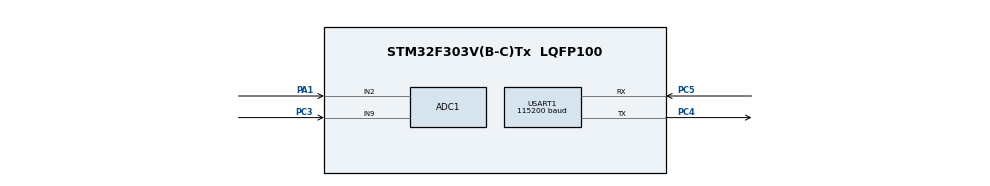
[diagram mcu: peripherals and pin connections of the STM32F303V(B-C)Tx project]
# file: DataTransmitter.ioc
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ADC1.Channel-0\#ChannelRegularConversion=ADC_CHANNEL_2
ADC1.Channel-1\#ChannelRegularConversion=ADC_CHANNEL_9
ADC1.ContinuousConvMode=ENABLE
ADC1.DMAContinuousRequests=ENABLE
ADC1.ExternalTrigConv=ADC_EXTERNALTRIGCONV_T6_TRGO
ADC1.NbrOfConversion=2
ADC1.NbrOfConversionFlag=1
ADC1.Offset-0\#ChannelRegularConversion=0
ADC1.Offset-1\#ChannelRegularConversion=0
ADC1.OffsetNumber-0\#ChannelRegularConversion=ADC_OFFSET_NONE
ADC1.OffsetNumber-1\#ChannelRegularConversion=ADC_OFFSET_NONE
ADC1.Rank-0\#ChannelRegularConversion=1
ADC1.Rank-1\#ChannelRegularConversion=2
ADC1.SamplingTime-0\#ChannelRegularConversion=ADC_SAMPLETIME_19CYCLES_5
ADC1.SamplingTime-1\#ChannelRegularConversion=ADC_SAMPLETIME_19CYCLES_5
ADC1.master=1
Dma.ADC1.0.Direction=DMA_PERIPH_TO_MEMORY
Dma.ADC1.0.Instance=DMA1_Channel1
Dma.ADC1.0.MemDataAlignment=DMA_MDATAALIGN_HALFWORD
Dma.ADC1.0.MemInc=DMA_MINC_ENABLE
Dma.ADC1.0.Mode=DMA_CIRCULAR
Dma.ADC1.0.PeriphDataAlignment=DMA_PDATAALIGN_HALFWORD
Dma.ADC1.0.PeriphInc=DMA_PINC_DISABLE
Dma.ADC1.0.Priority=DMA_PRIORITY_LOW
Dma.Request0=ADC1
Mcu.Family=STM32F3
Mcu.Name=STM32F303V(B-C)Tx
Mcu.Package=LQFP100
NVIC.DMA1_Channel1_IRQn=true\:0\:0\:false\:false\:true\:false\:true
NVIC.PriorityGroup=NVIC_PRIORITYGROUP_2
NVIC.TIM6_DAC_IRQn=true\:0\:1\:false\:false\:true\:true\:true
NVIC.TIM7_IRQn=true\:0\:0\:false\:false\:true\:true\:true
NVIC.USART1_IRQn=true\:0\:0\:false\:false\:true\:true\:true
PA1.Mode=IN2-Single-Ended
PA1.Signal=ADC1_IN2
PA13.Mode=Serial_Wire
PA13.Signal=SYS_JTMS-SWDIO
PA14.Mode=Serial_Wire
PA14.Signal=SYS_JTCK-SWCLK
PC3.Signal=ADCx_IN9
PC4.Mode=Asynchronous
PC4.Signal=USART1_TX
PC5.Mode=Asynchronous
PC5.Signal=USART1_RX
PF0-OSC_IN.Mode=HSE-External-Oscillator
PF0-OSC_IN.Signal=RCC_OSC_IN
PF1-OSC_OUT.Mode=HSE-External-Oscillator
PF1-OSC_OUT.Signal=RCC_OSC_OUT
ProjectManager.HeapSize=0x200
ProjectManager.StackSize=0x400
ProjectManager.TargetToolchain=EWARM V8.32
RCC.AHBFreq_Value=72000000
RCC.APB1CLKDivider=RCC_HCLK_DIV2
RCC.APB1Freq_Value=36000000
RCC.APB1TimFreq_Value=72000000
RCC.APB2Freq_Value=72000000
RCC.APB2TimFreq_Value=72000000
RCC.CortexFreq_Value=72000000
RCC.EnbaleCSS=true
RCC.HCLKFreq_Value=72000000
RCC.HSE_VALUE=8000000
RCC.HSI_VALUE=8000000
RCC.LSE_VALUE=32768
RCC.PLLMUL=RCC_PLL_MUL9
RCC.PLLSourceVirtual=RCC_PLLSOURCE_HSE
RCC.SYSCLKFreq_VALUE=72000000
RCC.SYSCLKSourceVirtual=RCC_SYSCLKSOURCE_PLLCLK
RCC.USBFreq_Value=72000000
SH.ADCx_IN9.0=ADC1_IN9,IN9-Single-Ended
TIM6.Period=64000
TIM6.Prescaler=0
TIM6.TIM_MasterOutputTrigger=TIM_TRGO_UPDATE
TIM7.Period=64000
USART1.BaudRate=115200
USART1.VirtualMode-Asynchronous=VM_ASYNC
VP_TIM6_VS_ClockSourceINT.Mode=Enable_Timer
VP_TIM7_VS_ClockSourceINT.Mode=Enable_Timer
board=custom

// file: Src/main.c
/* USER CODE BEGIN Header */
/**
  ******************************************************************************
  * @file           : main.c
  * @brief          : Main program body
  ******************************************************************************
  * @attention
  *
  * <h2><center>&copy; Copyright (c) 2022 STMicroelectronics.
  * All rights reserved.</center></h2>
  *
  * This software component is licensed by ST under BSD 3-Clause license,
  * the "License"; You may not use this file except in compliance with the
  * License. You may obtain a copy of the License at:
  *                        opensource.org/licenses/BSD-3-Clause
  *
  ******************************************************************************
  */
/* USER CODE END Header */

#include "main.h"

/* USER CODE BEGIN Includes */
//#include <stdio.h>
//#include <string.h>
//#include <stdlib.h>
/* USER CODE END Includes */

/* USER CODE BEGIN PV */
uint16_t ADC1_Result_Var[NUMBER_OF_ADC_CHANNELS];
uint8_t Tx_Buffer[3];
uint8_t Rx_Buffer[2];
/* USER CODE END PV */

void SystemClock_Config(void);
static void MX_GPIO_Init(void);
static void MX_DMA_Init(void);
static void MX_USART1_UART_Init(void);
static void MX_ADC1_Init(void);
static void MX_TIM6_Init(void);
static void MX_TIM7_Init(void);

/* USER CODE BEGIN 0 */

void clearBuff(uint8_t* array)
{
  for (uint8_t i = 0; i < NUMBER_OF_ADC_CHANNELS; i++)
  {
    array[i] = 0;
  }
}

/* Функция передачи данных----------------------------------------------------*/
void USART_Tx (uint8_t* byte, uint16_t size)
{
  // Добавим целочисленную переменную для перемещения указателя по массиву
  uint8_t index = 0;
  // Добавим цикл, в котором будем следить за окончанием массива
  while (index < size)
  {
    //В данном цикле дождёмся установки флага TXE в регистре SR
    while (!LL_USART_IsActiveFlag_TXE(USART1)) {}
    //Запишем передаваемый байт в регистр DR
    LL_USART_TransmitData8(USART1, *(uint8_t*)(byte + index));
    index++;
  }
}

/* Функция ассинхронного приёма и передачи данных-----------------------------*/
/*uint16_t USART_RX_TX_Str (uint8_t* tx_dt, uint8_t* rx_dt)
{
  uint16_t index = 0;

  //ожидание наполнения приёмного буфера и записть байта из него
  while (!fl) {}
  fl=0;
  rx_dt[index] = dt1;
  //ожидание опустошения буфера передачи и передача байта
  while (!LL_USART_IsActiveFlag_TXE(USART1)) {}
  LL_USART_TransmitData8(USART1,*(uint8_t*)(tx_dt+index));
  //
  while(rx_dt[index])
  {
    index++;
    //ожидание наполнения приёмного буфера и записть байта из него
    while (!fl) {}
    fl=0;
    rx_dt[index] = dt1;
    //ожидание опустошения буфера передачи и передача байта
    while (!LL_USART_IsActiveFlag_TXE(USART1)) {}
    LL_USART_TransmitData8(USART1,*(uint8_t*)(tx_dt+index));

  }

  return index;
}*/
/* USER CODE END 0 */

int main(void)
{

  /* MCU Configuration--------------------------------------------------------*/

  /* Reset of all peripherals, Initializes the Flash interface and the Systick. */

  LL_APB2_GRP1_EnableClock(LL_APB2_GRP1_PERIPH_SYSCFG);
  LL_APB1_GRP1_EnableClock(LL_APB1_GRP1_PERIPH_PWR);

  NVIC_SetPriorityGrouping(NVIC_PRIORITYGROUP_2);

  /* System interrupt init*/

  /* Configure the system clock */
  SystemClock_Config();

  /* Initialize all configured peripherals */
  MX_GPIO_Init();
  MX_DMA_Init();
  MX_USART1_UART_Init();
  MX_ADC1_Init();
  MX_TIM6_Init();
  MX_TIM7_Init();
  /* USER CODE BEGIN 2 */

/* Выполним процедуру калибровки ADCx-----------------------------------------*/
  // Включим регулятор напряжения
  LL_ADC_EnableInternalRegulator(ADC1);
  //Delay(10)
  for (uint32_t i = 720; i != 0; i--);
  // Выберем режим калибровки для АЦП1 и после запустим АЦП1
  LL_ADC_StartCalibration(ADC1, LL_ADC_SINGLE_ENDED);
  // Ожидаем завершения калибровки АПЦ1
  while (LL_ADC_IsCalibrationOnGoing(ADC1) != RESET);
  uint32_t dual = LL_ADC_GetCalibrationFactor(ADC1, LL_ADC_SINGLE_ENDED);

/* Запустим ADCx--------------------------------------------------------------*/
  // enable ADC
  LL_ADC_Enable(ADC1);
  // start ADC
  LL_ADC_REG_StartConversion(ADC1);

/* Проинициализируем DMAx-----------------------------------------------------*/
  LL_DMA_SetDataLength(DMA1, LL_DMA_CHANNEL_1, 2);
  LL_DMA_SetMemoryAddress(DMA1, LL_DMA_CHANNEL_1, (uint64_t)&ADC1_Result_Var);
  LL_DMA_SetPeriphAddress(DMA1, LL_DMA_CHANNEL_1, (uint64_t)&ADC1->DR);

  LL_DMA_EnableIT_TC(DMA1, LL_DMA_CHANNEL_1);
  LL_DMA_EnableChannel(DMA1, LL_DMA_CHANNEL_1);

/* Проинициализируем TIMx-----------------------------------------------------*/
  LL_TIM_EnableIT_UPDATE(TIM6);
  LL_TIM_EnableCounter(TIM6);

  LL_USART_EnableIT_RXNE(USART1);
  LL_USART_EnableIT_ERROR(USART1);
  LL_USART_EnableDirectionRx(USART1);
  LL_USART_EnableDirectionTx(USART1);
  /* USER CODE END 2 */

  /* Infinite loop */
  while (1)
  {

  }
}

void SystemClock_Config(void)
{
  LL_FLASH_SetLatency(LL_FLASH_LATENCY_2);

   if(LL_FLASH_GetLatency() != LL_FLASH_LATENCY_2)
  {
  Error_Handler();
  }
  LL_RCC_HSE_Enable();

   /* Wait till HSE is ready */
  while(LL_RCC_HSE_IsReady() != 1)
  {

  }
  LL_RCC_HSE_EnableCSS();
  LL_RCC_PLL_ConfigDomain_SYS(LL_RCC_PLLSOURCE_HSE_DIV_1, LL_RCC_PLL_MUL_9);
  LL_RCC_PLL_Enable();

   /* Wait till PLL is ready */
  while(LL_RCC_PLL_IsReady() != 1)
  {

  }
  LL_RCC_SetAHBPrescaler(LL_RCC_SYSCLK_DIV_1);
  LL_RCC_SetAPB1Prescaler(LL_RCC_APB1_DIV_2);
  LL_RCC_SetAPB2Prescaler(LL_RCC_APB1_DIV_1);
  LL_RCC_SetSysClkSource(LL_RCC_SYS_CLKSOURCE_PLL);

   /* Wait till System clock is ready */
  while(LL_RCC_GetSysClkSource() != LL_RCC_SYS_CLKSOURCE_STATUS_PLL)
  {

  }
  LL_Init1msTick(72000000);
  LL_SYSTICK_SetClkSource(LL_SYSTICK_CLKSOURCE_HCLK);
  LL_SetSystemCoreClock(72000000);
  LL_RCC_SetUSARTClockSource(LL_RCC_USART1_CLKSOURCE_PCLK2);
  LL_RCC_SetADCClockSource(LL_RCC_ADC12_CLKSRC_PLL_DIV_1);
}

static void MX_ADC1_Init(void)
{

  LL_ADC_InitTypeDef ADC_InitStruct = {0};
  LL_ADC_REG_InitTypeDef ADC_REG_InitStruct = {0};
  LL_ADC_CommonInitTypeDef ADC_CommonInitStruct = {0};

  LL_GPIO_InitTypeDef GPIO_InitStruct = {0};

  /* Peripheral clock enable */
  LL_AHB1_GRP1_EnableClock(LL_AHB1_GRP1_PERIPH_ADC12);

  LL_AHB1_GRP1_EnableClock(LL_AHB1_GRP1_PERIPH_GPIOC);
  LL_AHB1_GRP1_EnableClock(LL_AHB1_GRP1_PERIPH_GPIOA);
  /**ADC1 GPIO Configuration
  PC3   ------> ADC1_IN9
  PA1   ------> ADC1_IN2
  */
  GPIO_InitStruct.Pin = LL_GPIO_PIN_3;
  GPIO_InitStruct.Mode = LL_GPIO_MODE_ANALOG;
  GPIO_InitStruct.Pull = LL_GPIO_PULL_NO;
  LL_GPIO_Init(GPIOC, &GPIO_InitStruct);

  GPIO_InitStruct.Pin = LL_GPIO_PIN_1;
  GPIO_InitStruct.Mode = LL_GPIO_MODE_ANALOG;
  GPIO_InitStruct.Pull = LL_GPIO_PULL_NO;
  LL_GPIO_Init(GPIOA, &GPIO_InitStruct);

  /* ADC1 DMA Init */

  /* ADC1 Init */
  LL_DMA_SetDataTransferDirection(DMA1, LL_DMA_CHANNEL_1, LL_DMA_DIRECTION_PERIPH_TO_MEMORY);

  LL_DMA_SetChannelPriorityLevel(DMA1, LL_DMA_CHANNEL_1, LL_DMA_PRIORITY_LOW);

  LL_DMA_SetMode(DMA1, LL_DMA_CHANNEL_1, LL_DMA_MODE_CIRCULAR);

  LL_DMA_SetPeriphIncMode(DMA1, LL_DMA_CHANNEL_1, LL_DMA_PERIPH_NOINCREMENT);

  LL_DMA_SetMemoryIncMode(DMA1, LL_DMA_CHANNEL_1, LL_DMA_MEMORY_INCREMENT);

  LL_DMA_SetPeriphSize(DMA1, LL_DMA_CHANNEL_1, LL_DMA_PDATAALIGN_HALFWORD);

  LL_DMA_SetMemorySize(DMA1, LL_DMA_CHANNEL_1, LL_DMA_MDATAALIGN_HALFWORD);

  /** Common config
  */
  ADC_InitStruct.Resolution = LL_ADC_RESOLUTION_12B;
  ADC_InitStruct.DataAlignment = LL_ADC_DATA_ALIGN_RIGHT;
  ADC_InitStruct.LowPowerMode = LL_ADC_LP_MODE_NONE;
  LL_ADC_Init(ADC1, &ADC_InitStruct);
  ADC_REG_InitStruct.TriggerSource = LL_ADC_REG_TRIG_EXT_TIM6_TRGO_ADC12;
  ADC_REG_InitStruct.SequencerLength = LL_ADC_REG_SEQ_SCAN_ENABLE_2RANKS;
  ADC_REG_InitStruct.SequencerDiscont = LL_ADC_REG_SEQ_DISCONT_DISABLE;
  ADC_REG_InitStruct.ContinuousMode = LL_ADC_REG_CONV_CONTINUOUS;
  ADC_REG_InitStruct.DMATransfer = LL_ADC_REG_DMA_TRANSFER_UNLIMITED;
  ADC_REG_InitStruct.Overrun = LL_ADC_REG_OVR_DATA_OVERWRITTEN;
  LL_ADC_REG_Init(ADC1, &ADC_REG_InitStruct);
  LL_ADC_DisableIT_EOC(ADC1);
  LL_ADC_DisableIT_EOS(ADC1);
  ADC_CommonInitStruct.CommonClock = LL_ADC_CLOCK_ASYNC_DIV1;
  ADC_CommonInitStruct.Multimode = LL_ADC_MULTI_INDEPENDENT;
  LL_ADC_CommonInit(__LL_ADC_COMMON_INSTANCE(ADC1), &ADC_CommonInitStruct);
  LL_ADC_REG_SetTriggerEdge(ADC1, LL_ADC_REG_TRIG_EXT_RISING);
  /** Configure Regular Channel
  */
  LL_ADC_REG_SetSequencerRanks(ADC1, LL_ADC_REG_RANK_1, LL_ADC_CHANNEL_2);
  LL_ADC_SetChannelSamplingTime(ADC1, LL_ADC_CHANNEL_2, LL_ADC_SAMPLINGTIME_19CYCLES_5);
  LL_ADC_SetChannelSingleDiff(ADC1, LL_ADC_CHANNEL_2, LL_ADC_SINGLE_ENDED);
  /** Configure Regular Channel
  */
  LL_ADC_REG_SetSequencerRanks(ADC1, LL_ADC_REG_RANK_2, LL_ADC_CHANNEL_9);
  LL_ADC_SetChannelSamplingTime(ADC1, LL_ADC_CHANNEL_9, LL_ADC_SAMPLINGTIME_19CYCLES_5);
  LL_ADC_SetChannelSingleDiff(ADC1, LL_ADC_CHANNEL_9, LL_ADC_SINGLE_ENDED);

}

static void MX_TIM6_Init(void)
{

  LL_TIM_InitTypeDef TIM_InitStruct = {0};

  /* Peripheral clock enable */
  LL_APB1_GRP1_EnableClock(LL_APB1_GRP1_PERIPH_TIM6);

  /* TIM6 interrupt Init */
  NVIC_SetPriority(TIM6_DAC_IRQn, NVIC_EncodePriority(NVIC_GetPriorityGrouping(),0, 1));
  NVIC_EnableIRQ(TIM6_DAC_IRQn);

  TIM_InitStruct.Prescaler = 0;
  TIM_InitStruct.CounterMode = LL_TIM_COUNTERMODE_UP;
  TIM_InitStruct.Autoreload = 64000;
  LL_TIM_Init(TIM6, &TIM_InitStruct);
  LL_TIM_DisableARRPreload(TIM6);
  LL_TIM_SetTriggerOutput(TIM6, LL_TIM_TRGO_UPDATE);
  LL_TIM_DisableMasterSlaveMode(TIM6);

}

static void MX_TIM7_Init(void)
{

  LL_TIM_InitTypeDef TIM_InitStruct = {0};

  /* Peripheral clock enable */
  LL_APB1_GRP1_EnableClock(LL_APB1_GRP1_PERIPH_TIM7);

  /* TIM7 interrupt Init */
  NVIC_SetPriority(TIM7_IRQn, NVIC_EncodePriority(NVIC_GetPriorityGrouping(),0, 0));
  NVIC_EnableIRQ(TIM7_IRQn);

  //TIM_InitStruct.Prescaler = 999;
  TIM_InitStruct.Prescaler = 3199;
  TIM_InitStruct.CounterMode = LL_TIM_COUNTERMODE_UP;
  //TIM_InitStruct.Autoreload = 7200;
  TIM_InitStruct.Autoreload = 10000;
  LL_TIM_Init(TIM7, &TIM_InitStruct);
  LL_TIM_DisableARRPreload(TIM7);
  LL_TIM_SetTriggerOutput(TIM7, LL_TIM_TRGO_RESET);
  LL_TIM_DisableMasterSlaveMode(TIM7);

}

static void MX_USART1_UART_Init(void)
{

  LL_USART_InitTypeDef USART_InitStruct = {0};

  LL_GPIO_InitTypeDef GPIO_InitStruct = {0};

  /* Peripheral clock enable */
  LL_APB2_GRP1_EnableClock(LL_APB2_GRP1_PERIPH_USART1);

  LL_AHB1_GRP1_EnableClock(LL_AHB1_GRP1_PERIPH_GPIOC);
  /**USART1 GPIO Configuration
  PC4   ------> USART1_TX
  PC5   ------> USART1_RX
  */
  GPIO_InitStruct.Pin = LL_GPIO_PIN_4|LL_GPIO_PIN_5;
  GPIO_InitStruct.Mode = LL_GPIO_MODE_ALTERNATE;
  GPIO_InitStruct.Speed = LL_GPIO_SPEED_FREQ_HIGH;
  GPIO_InitStruct.OutputType = LL_GPIO_OUTPUT_PUSHPULL;
  GPIO_InitStruct.Pull = LL_GPIO_PULL_NO;
  GPIO_InitStruct.Alternate = LL_GPIO_AF_7;
  LL_GPIO_Init(GPIOC, &GPIO_InitStruct);

  /* USART1 interrupt Init */
  NVIC_SetPriority(USART1_IRQn, NVIC_EncodePriority(NVIC_GetPriorityGrouping(),0, 0));
  NVIC_EnableIRQ(USART1_IRQn);

  USART_InitStruct.BaudRate = 115200;
  USART_InitStruct.DataWidth = LL_USART_DATAWIDTH_8B;
  USART_InitStruct.StopBits = LL_USART_STOPBITS_1;
  USART_InitStruct.Parity = LL_USART_PARITY_NONE;
  USART_InitStruct.TransferDirection = LL_USART_DIRECTION_TX_RX;
  USART_InitStruct.HardwareFlowControl = LL_USART_HWCONTROL_NONE;
  USART_InitStruct.OverSampling = LL_USART_OVERSAMPLING_16;
  LL_USART_Init(USART1, &USART_InitStruct);
  LL_USART_DisableIT_CTS(USART1);
  LL_USART_ConfigAsyncMode(USART1);
  LL_USART_Enable(USART1);

}

static void MX_DMA_Init(void)
{

  /* Init with LL driver */
  /* DMA controller clock enable */
  LL_AHB1_GRP1_EnableClock(LL_AHB1_GRP1_PERIPH_DMA1);

  /* DMA interrupt init */
  /* DMA1_Channel1_IRQn interrupt configuration */
  NVIC_SetPriority(DMA1_Channel1_IRQn, NVIC_EncodePriority(NVIC_GetPriorityGrouping(),0, 0));
  NVIC_EnableIRQ(DMA1_Channel1_IRQn);

}

static void MX_GPIO_Init(void)
{

  /* GPIO Ports Clock Enable */
  LL_AHB1_GRP1_EnableClock(LL_AHB1_GRP1_PERIPH_GPIOF);
  LL_AHB1_GRP1_EnableClock(LL_AHB1_GRP1_PERIPH_GPIOC);
  LL_AHB1_GRP1_EnableClock(LL_AHB1_GRP1_PERIPH_GPIOA);

}

void Error_Handler(void)
{
}

/************************ (C) COPYRIGHT STMicroelectronics *****END OF FILE****/
